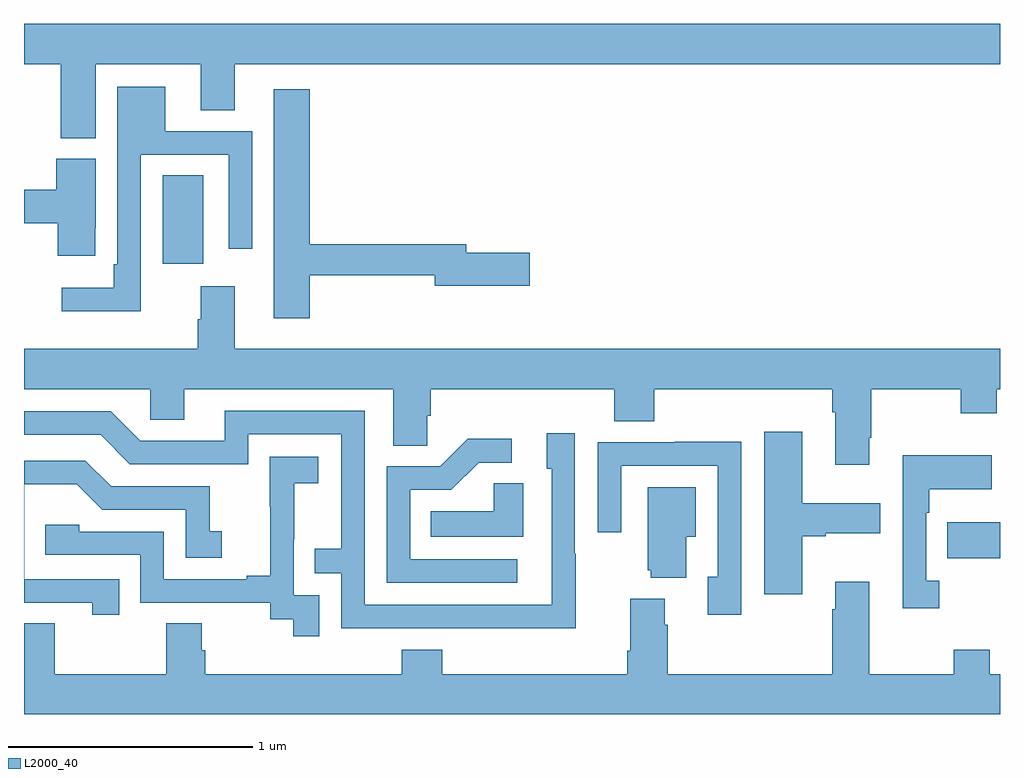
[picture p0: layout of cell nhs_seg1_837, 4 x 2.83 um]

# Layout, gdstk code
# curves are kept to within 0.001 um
import gdstk
lib = gdstk.Library(unit=1e-6, precision=1e-09)
def R(c, l, rs):  # rectangles x0, y0, x1, y1
    for r in rs: c.add(gdstk.rectangle(r[:2], r[2:], *l))
def P(c, l, *ps):  # polygons
    for p in ps: c.add(gdstk.Polygon(p, *l))
L2000_40 = (2000, 40)

nhs_seg1_837 = lib.new_cell('nhs_seg1_837')
R(nhs_seg1_837, L2000_40, [(160.783,515.074,161,515.221), (157.568,516.282,157.735,516.644)])
P(nhs_seg1_837, L2000_40, [(157.294,517.1),(157.724,517.1),(157.724,516.91),(157.864,516.91),(157.864,517.1),(161,517.1),(161,517.264),(157,517.264),(157,517.1),(157.151,517.1),(157.151,516.796),(157.294,516.796)],
  [(157.479,516.729),(157.839,516.729),(157.839,516.342),(157.935,516.342),(157.935,516.825),(157.579,516.825),(157.579,517.006),(157.383,517.006),(157.383,516.28),(157.367,516.28),(157.367,516.184),(157.155,516.184),(157.155,516.086),(157.479,516.086)],
  [(158.171,516.234),(158.684,516.234),(158.684,516.191),(159.073,516.191),(159.073,516.326),(158.812,516.326),(158.812,516.362),(158.171,516.362),(158.171,516.996),(158.024,516.996),(158.024,516.057),(158.171,516.057)],
  [(157.293,516.427),(157.294,516.427),(157.294,516.711),(157.133,516.711),(157.133,516.584),(157,516.584),(157,516.448),(157.138,516.448),(157.138,516.315),(157.293,516.315)],
  [(160.465,515.569),(160.473,515.569),(160.473,515.768),(160.84,515.768),(160.84,515.669),(160.986,515.669),(160.986,515.768),(161,515.768),(161,515.932),(157.864,515.932),(157.864,516.19),(157.724,516.19),(157.724,516.053),(157.712,516.053),(157.712,515.932),(157,515.932),(157,515.768),(157.518,515.768),(157.518,515.641),(157.657,515.641),(157.657,515.768),(158.513,515.768),(158.513,515.536),(158.652,515.536),(158.652,515.659),(158.666,515.659),(158.666,515.768),(159.419,515.768),(159.419,515.635),(159.584,515.635),(159.584,515.768),(160.313,515.768),(160.313,515.672),(160.325,515.672),(160.325,515.457),(160.465,515.457)],
  [(159.261,515.093),(159.258,515.093),(159.258,515.587),(159.143,515.587),(159.143,515.442),(159.162,515.442),(159.162,514.884),(158.397,514.884),(158.397,515.679),(157.823,515.679),(157.823,515.556),(157.476,515.556),(157.356,515.676),(157,515.676),(157,515.58),(157.314,515.58),(157.434,515.46),(157.92,515.46),(157.92,515.583),(158.301,515.583),(158.301,515.114),(158.191,515.114),(158.191,515.013),(158.301,515.013),(158.301,514.788),(159.261,514.787)],
  [(160.189,515.165),(160.285,515.165),(160.285,515.177),(160.51,515.177),(160.51,515.299),(160.189,515.299),(160.189,515.593),(160.034,515.593),(160.034,514.926),(160.189,514.926)],
  [(159.022,515.07),(158.583,515.07),(158.583,515.355),(158.752,515.355),(158.863,515.466),(158.998,515.466),(158.998,515.564),(158.819,515.564),(158.706,515.451),(158.487,515.451),(158.487,514.974),(159.022,514.974)],
  [(159.939,515.552),(159.667,515.552),(159.667,515.55),(159.351,515.55),(159.351,515.181),(159.447,515.181),(159.447,515.454),(159.843,515.454),(159.843,514.998),(159.803,514.998),(159.803,514.842),(159.939,514.842)],
  [(160.75,514.982),(160.698,514.982),(160.698,515.261),(160.711,515.261),(160.711,515.357),(160.967,515.357),(160.967,515.497),(160.602,515.497),(160.602,515.081),(160.601,515.081),(160.601,514.869),(160.75,514.869)],
  [(158.211,514.923),(158.106,514.923),(158.106,515.153),(158.108,515.153),(158.108,515.381),(158.206,515.381),(158.206,515.491),(158.008,515.491),(158.008,515.285),(158.009,515.285),(158.009,515.002),(157.913,515.002),(157.913,514.989),(157.572,514.989),(157.572,515.184),(157.227,515.184),(157.227,515.211),(157.087,515.211),(157.087,515.088),(157.476,515.088),(157.476,514.893),(158.01,514.893),(158.01,514.825),(158.103,514.825),(158.103,514.755),(158.211,514.755)],
  [(157.391,514.989),(157.002,514.989),(157.002,515.378),(157.216,515.378),(157.32,515.274),(157.662,515.274),(157.662,515.076),(157.81,515.076),(157.81,515.185),(157.761,515.185),(157.761,515.37),(157.357,515.37),(157.252,515.475),(157,515.475),(157,514.893),(157.28,514.893),(157.28,514.842),(157.391,514.842)],
  [(159.046,515.381),(158.925,515.381),(158.925,515.266),(158.668,515.266),(158.668,515.162),(159.046,515.162)],
  [(159.715,515.162),(159.754,515.162),(159.754,515.365),(159.557,515.365),(159.557,515.025),(159.569,515.025),(159.569,514.994),(159.715,514.994)],
  [(161,514.6),(160.957,514.6),(160.957,514.699),(160.81,514.699),(160.81,514.6),(160.465,514.6),(160.465,514.978),(160.325,514.978),(160.325,514.865),(160.313,514.865),(160.313,514.6),(159.638,514.6),(159.638,514.802),(159.625,514.802),(159.625,514.909),(159.485,514.909),(159.485,514.696),(159.473,514.696),(159.473,514.6),(158.714,514.6),(158.714,514.699),(158.549,514.699),(158.549,514.6),(157.742,514.6),(157.742,514.698),(157.729,514.698),(157.729,514.808),(157.582,514.808),(157.582,514.6),(157.125,514.6),(157.125,514.808),(157,514.808),(157,514.436),(161,514.436)])

lib.write_gds('nhs_seg1_837.gds')
